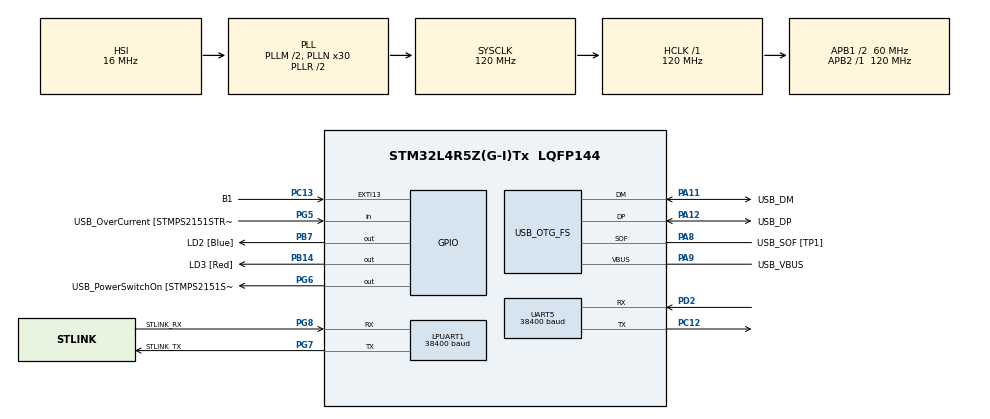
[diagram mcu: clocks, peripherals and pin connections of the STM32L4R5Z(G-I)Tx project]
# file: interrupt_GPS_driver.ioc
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Dma.Request0=UART5_RX
Dma.UART5_RX.0.Direction=DMA_PERIPH_TO_MEMORY
Dma.UART5_RX.0.EventEnable=DISABLE
Dma.UART5_RX.0.Instance=DMA1_Channel1
Dma.UART5_RX.0.MemDataAlignment=DMA_MDATAALIGN_BYTE
Dma.UART5_RX.0.MemInc=DMA_MINC_ENABLE
Dma.UART5_RX.0.Mode=DMA_CIRCULAR
Dma.UART5_RX.0.PeriphDataAlignment=DMA_PDATAALIGN_BYTE
Dma.UART5_RX.0.PeriphInc=DMA_PINC_DISABLE
Dma.UART5_RX.0.Polarity=HAL_DMAMUX_REQUEST_GEN_RISING
Dma.UART5_RX.0.Priority=DMA_PRIORITY_LOW
Dma.UART5_RX.0.RequestNumber=1
Dma.UART5_RX.0.SignalID=NONE
Dma.UART5_RX.0.SyncEnable=DISABLE
Dma.UART5_RX.0.SyncPolarity=HAL_DMAMUX_SYNC_NO_EVENT
Dma.UART5_RX.0.SyncRequestNumber=1
Dma.UART5_RX.0.SyncSignalID=NONE
LPUART1.BaudRate=38400
LPUART1.WordLength=UART_WORDLENGTH_8B
Mcu.Family=STM32L4
Mcu.Name=STM32L4R5Z(G-I)Tx
Mcu.Package=LQFP144
NVIC.DMA1_Channel1_IRQn=true\:0\:0\:false\:false\:true\:false\:true\:true
NVIC.PriorityGroup=NVIC_PRIORITYGROUP_4
NVIC.UART5_IRQn=true\:0\:0\:false\:false\:true\:true\:true\:true
PA10.GPIO_Label=USB_ID
PA10.Signal=USB_OTG_FS_ID
PA11.GPIO_Label=USB_DM
PA11.Mode=Device_Only
PA11.Signal=USB_OTG_FS_DM
PA12.GPIO_Label=USB_DP
PA12.Mode=Device_Only
PA12.Signal=USB_OTG_FS_DP
PA13\ (JTMS/SWDIO).GPIO_Label=TMS
PA13\ (JTMS/SWDIO).Mode=Trace_Asynchronous_SW
PA13\ (JTMS/SWDIO).Signal=SYS_JTMS-SWDIO
PA14\ (JTCK/SWCLK).GPIO_Label=TCK
PA14\ (JTCK/SWCLK).Mode=Trace_Asynchronous_SW
PA14\ (JTCK/SWCLK).Signal=SYS_JTCK-SWCLK
PA8.GPIO_Label=USB_SOF [TP1]
PA8.Mode=Activate_SOF_FS
PA8.Signal=USB_OTG_FS_SOF
PA9.GPIO_Label=USB_VBUS
PA9.Mode=Activate_VBUS
PA9.Signal=USB_OTG_FS_VBUS
PB14.GPIO_Label=LD3 [Red]
PB14.Signal=GPIO_Output
PB3\ (JTDO/TRACESWO).GPIO_Label=SWO
PB3\ (JTDO/TRACESWO).Mode=Trace_Asynchronous_SW
PB3\ (JTDO/TRACESWO).Signal=SYS_JTDO-SWO
PB7.GPIO_Label=LD2 [Blue]
PB7.Signal=GPIO_Output
PC12.Mode=Asynchronous
PC12.Signal=UART5_TX
PC13.GPIO_Label=B1
PC13.Signal=GPXTI13
PC14-OSC32_IN\ (PC14).Mode=LSE-External-Oscillator
PC14-OSC32_IN\ (PC14).Signal=RCC_OSC32_IN
PC15-OSC32_OUT\ (PC15).Mode=LSE-External-Oscillator
PC15-OSC32_OUT\ (PC15).Signal=RCC_OSC32_OUT
PD2.Mode=Asynchronous
PD2.Signal=UART5_RX
PD8.GPIO_Label=STLK_RX [STM32F103CBT6_PA3]
PD8.Signal=USART3_TX
PD9.GPIO_Label=STLK_TX [STM32F103CBT6_PA2]
PD9.Signal=USART3_RX
PG5.GPIO_Label=USB_OverCurrent [STMPS2151STR_FAULT]
PG5.Signal=GPIO_Input
PG6.GPIO_Label=USB_PowerSwitchOn [STMPS2151STR_EN]
PG6.Signal=GPIO_Output
PG7.GPIO_Label=STLINK_TX
PG7.Mode=Asynchronous
PG7.Signal=LPUART1_TX
PG8.GPIO_Label=STLINK_RX
PG8.Mode=Asynchronous
PG8.Signal=LPUART1_RX
PH0-OSC_IN\ (PH0).Signal=RCC_OSC_IN
PH1-OSC_OUT\ (PH1).Signal=RCC_OSC_OUT
ProjectManager.HeapSize=0x200
ProjectManager.StackSize=0x400
ProjectManager.TargetToolchain=STM32CubeIDE
RCC.48MHZClocksFreq_Value=24000000
RCC.ADCFreq_Value=96000000
RCC.AHBFreq_Value=120000000
RCC.APB1CLKDivider=RCC_HCLK_DIV2
RCC.APB1Freq_Value=60000000
RCC.APB1TimFreq_Value=120000000
RCC.APB2Freq_Value=120000000
RCC.APB2TimFreq_Value=120000000
RCC.CK48CLockSelection=RCC_USBCLKSOURCE_HSI48
RCC.CortexFreq_Value=120000000
RCC.HCLKFreq_Value=120000000
RCC.HSE_VALUE=8000000
RCC.HSI48_VALUE=48000000
RCC.HSI_VALUE=16000000
RCC.MSI_VALUE=4000000
RCC.PLLM1=2
RCC.PLLMUL=RCC_PLL_MUL9
RCC.PLLN=30
RCC.PLLSAI1N=12
RCC.PLLSourceVirtual=RCC_PLLSOURCE_HSI
RCC.PRESCALERUSB=RCC_USBCLKSOURCE_PLL_DIV1_5
RCC.SYSCLKFreq_VALUE=120000000
RCC.SYSCLKSource=RCC_SYSCLKSOURCE_PLLCLK
RCC.SYSCLKSourceVirtual=RCC_SYSCLKSOURCE_PLLCLK
RCC.USBFreq_Value=48000000
RCC.VCOOutputFreq_Value=240000000
UART5.BaudRate=38400
USB_OTG_FS.VirtualMode=Device_Only
board=NUCLEO-L4R5ZI

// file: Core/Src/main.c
/* USER CODE BEGIN Header */
/**
 ******************************************************************************
 * @file           : main.c
 * @brief          : Main program body
 ******************************************************************************
 * @attention
 *
 * Copyright (c) 2026 STMicroelectronics.
 * All rights reserved.
 *
 * This software is licensed under terms that can be found in the LICENSE file
 * in the root directory of this software component.
 * If no LICENSE file comes with this software, it is provided AS-IS.
 *
 ******************************************************************************
 Notes:
 - can delete all the console_print() calls, only there to help debugging
 - can stop LED2 from toggling by deleting the code from uart callback

 */
/* USER CODE END Header */
#include "main.h"

/* USER CODE BEGIN Includes */
#include <stdio.h>
#include <string.h>

#include "constants.h"
#include "gps_config.h"
#include "gps_interface.h"
#include "ring_buffer.h"

/* USER CODE END Includes */

UART_HandleTypeDef hlpuart1;
UART_HandleTypeDef huart5;
DMA_HandleTypeDef hdma_uart5_rx;

PCD_HandleTypeDef hpcd_USB_OTG_FS;

/* USER CODE BEGIN PV */

/* GPS data buffers.
 * Sizes are defined in constants.h.
 * DMA_LEN = 128 bytes:  holds one full GGA sentence with margin.
 * GPS_RB_LEN = 256 bytes:  holds about 3 sentences of backlog so the
 *              parser has time to drain the buffer between fixes. */
static RingBuffer gps_rb;
static uint8_t gps_rb_storage[GPS_RB_LEN];
static uint8_t gps_dma_buf[DMA_LEN];

/* Debug counters -- track DMA callback activity.
 * These are volatile because they are written inside an interrupt (the DMA
 * callback) and read in the main loop. Remove once testing is done. */
volatile uint32_t gps_rx_events = 0;     // total number of DMA callbacks fired
volatile uint32_t gps_rx_bytes = 0;      // bytes received in the most recent callback
volatile uint32_t max_gps_rx_bytes = 0;  // track bytes recieved per callback (should be around ~75 with only GGA enabled)

volatile size_t time_delta = 0;        // time between callbacks
volatile uint32_t max_time_delta = 0;  // track time between callback (should be around ~200ms at 5Hz)

volatile uint32_t gps_rx_event_type = 0;
volatile uint32_t gps_idle_events = 0;  // callbacks triggered by UART idle line
volatile uint32_t gps_ht_events = 0;    // callbacks triggered by DMA half-transfer
volatile uint32_t gps_tc_events = 0;    // callbacks triggered by DMA transfer-complete

/* USER CODE END PV */

void SystemClock_Config(void);
static void MX_GPIO_Init(void);
static void MX_DMA_Init(void);
static void MX_LPUART1_UART_Init(void);
static void MX_USB_OTG_FS_PCD_Init(void);
static void MX_UART5_Init(void);
/* USER CODE BEGIN PFP */
static void print_gps_fix(void);
static void print_gps_stats(void);
/* USER CODE END PFP */

/* USER CODE BEGIN 0 */

/* -----------------------
 * debug_uart_callback
 * called from HAL_UARTEx_RxEventCallback every time the DMA fires
 * (idle line, half-transfer, or transfer-complete).
 * Tracks event counts and byte counts for debugging.
 *
 * This entire function can be removed once the driver is confirmed
 * working.
 * ----------------------- */
void debug_uart_callback(UART_HandleTypeDef* huart, uint16_t Size) {
    static uint16_t old_pos = 0;
    uint16_t new_bytes = 0;
    static uint32_t last_callback_time = 0;

    /* figure out which type of event triggered this callback */
    HAL_UART_RxEventTypeTypeDef evt = HAL_UARTEx_GetRxEventType(huart);
    if (evt == HAL_UART_RXEVENT_IDLE)
        gps_idle_events++;
    else if (evt == HAL_UART_RXEVENT_HT)
        gps_ht_events++;
    else if (evt == HAL_UART_RXEVENT_TC)
        gps_tc_events++;

    /* compute bytes received since last callback, accounting for DMA wrap */
    if (Size >= old_pos) {
        new_bytes = Size - old_pos;
    } else {
        new_bytes = DMA_LEN - old_pos + Size;
    }

    gps_rx_bytes = new_bytes;
    gps_rx_events++;

    /* Timing and Maximums */
    uint32_t current_time = HAL_GetTick();
    time_delta = current_time - last_callback_time;
    last_callback_time = current_time;

    if (gps_rx_bytes > max_gps_rx_bytes)
        max_gps_rx_bytes = gps_rx_bytes;
    if (time_delta > max_time_delta && gps_rx_events > 1)
        max_time_delta = time_delta;

    // Update position for next interrupt
    old_pos = Size;
    if (old_pos >= DMA_LEN)
        old_pos = 0;

    /* toggle LED2 on every callback so we can see DMA is alive */
    HAL_GPIO_TogglePin(LD2_GPIO_Port, LD2_Pin);
}

/* -----------------------
 * HAL_UARTEx_RxEventCallback -- this is the HAL weak function we override.
 * It fires on every DMA event (idle, half-transfer, transfer-complete).
 *
 * gps_on_rx_event() is the only call that actually matters for the driver.
 * The debug callback above can be removed once testing is done.
 * ----------------------- */
void HAL_UARTEx_RxEventCallback(UART_HandleTypeDef* huart, uint16_t Size) {
    if (huart == &huart5) {
        debug_uart_callback(huart, Size);  // stuff for debugging, delete once not needed
        gps_on_rx_event(Size);             // only thing needed for callback to work
    }
}
/* USER CODE END 0 */

int main(void) {

    /* MCU Configuration--------------------------------------------------------*/

    /* Reset of all peripherals, Initializes the Flash interface and the Systick. */
    HAL_Init();

    /* Configure the system clock */
    SystemClock_Config();

    /* Initialize all configured peripherals */
    MX_GPIO_Init();
    MX_DMA_Init();
    MX_LPUART1_UART_Init();
    MX_USB_OTG_FS_PCD_Init();
    MX_UART5_Init();
    /* USER CODE BEGIN 2 */
    console_print("--- GPS driver starting ---\r\n");

    /* Step 1: initialize internal driver state.
     * Sets up the ring buffer, parser, and UART handler structs.
     * Does NOT start DMA yet. */
    gps_init(&huart5, &gps_rb, gps_rb_storage, gps_dma_buf);

    /* Step 2: configure the GPS module over UBX.
     *
     * Can make permenant or temporary changes by changing UBX_LAYERS in constants.h
     *
     * first boot: change gps baud to whatever needed:
     * 		- modify values in constants.h
     * 		- set reinit_baud == true
     *
     * Cannot change fix rate at the same time as baud rate
     *
     * Changing nmea outputs and fix rate:
     * 		- modify fix rate in constants.h
     * 		- set reinit_baud == false, reinit_nmea_rate == true
     *
     * No changes:
     * 		- set reinit_baud == false, reinit_nmea_rate == false
     *
     * Current setup:
     *      - GPS already has 115200 saved from a previous run
     *      - NMEA/rate config has already been applied and saved.
     *      - Both flags are false so no UBX commands are sent on this boot
     * */
    GPS_CfgStatus cfg = gps_configure(&huart5, /*reinit_baud*/ false, /*reinit_nmea_rate*/
                                      false);
    if (cfg != GPS_CFG_OK) {
        console_print("GPS config failed\r\n");
        Error_Handler();
    }

    /* Step 3: start DMA receive.
     * This must happen AFTER gps_configure() since gps_configure() uses
     * blocking HAL_UART_Transmit/Receive which conflicts with active DMA. */
    if (!gps_start()) {
        console_print("gps uart start error \r\n");
        Error_Handler();
    }
    console_print("gps uart started! \r\n");

    /* USER CODE END 2 */

    /* Infinite loop */
    /* USER CODE BEGIN WHILE */

    uint32_t last_print = 0;
    char buf[128];  // for the sake of debugging

    while (1) {
        /* gps_process() drains the ring buffer and feeds bytes into the
         * NMEA parser. Call this as often as possible so sentences are
         * assembled and the fix struct stays current. */
        gps_process();

        /* print a status update once per second for debugging */
        if ((HAL_GetTick() - last_print) >= 1000) {
            last_print = HAL_GetTick();

            /* raw DMA event counters -- confirms the callback is firing */
            snprintf(buf, sizeof(buf),
                     "rx_events:%lu  bytes_last:%lu  idle:%lu  ht:%lu  tc:%lu\r\n",
                     gps_rx_events, gps_rx_bytes, gps_idle_events, gps_ht_events,
                     gps_tc_events);
            console_print(buf);

            /* latest GPS fix data */
            print_gps_fix();

            /* parser stats -- useful for confirming gps_configure() worked.
             * After a successful config you should see:
             *   seen == gga  (every sentence is GGA, none ignored)
             *   ign  == 0    (no stray RMC/GSV getting through)
             *   fail == 0    (no checksum errors) */
            print_gps_stats();

            // print new lines for some seperation and clarity in the console
            console_print("\r\n");
            console_print("\r\n");
        }
    }
    /* USER CODE END WHILE */

}

void SystemClock_Config(void) {
    RCC_OscInitTypeDef RCC_OscInitStruct = {0};
    RCC_ClkInitTypeDef RCC_ClkInitStruct = {0};

    /** Configure the main internal regulator output voltage
     */
    if (HAL_PWREx_ControlVoltageScaling(PWR_REGULATOR_VOLTAGE_SCALE1_BOOST) != HAL_OK) {
        Error_Handler();
    }

    /** Initializes the RCC Oscillators according to the specified parameters
     * in the RCC_OscInitTypeDef structure.
     */
    RCC_OscInitStruct.OscillatorType = RCC_OSCILLATORTYPE_HSI48 | RCC_OSCILLATORTYPE_HSI;
    RCC_OscInitStruct.HSIState = RCC_HSI_ON;
    RCC_OscInitStruct.HSI48State = RCC_HSI48_ON;
    RCC_OscInitStruct.HSICalibrationValue = RCC_HSICALIBRATION_DEFAULT;
    RCC_OscInitStruct.PLL.PLLState = RCC_PLL_ON;
    RCC_OscInitStruct.PLL.PLLSource = RCC_PLLSOURCE_HSI;
    RCC_OscInitStruct.PLL.PLLM = 2;
    RCC_OscInitStruct.PLL.PLLN = 30;
    RCC_OscInitStruct.PLL.PLLP = RCC_PLLP_DIV2;
    RCC_OscInitStruct.PLL.PLLQ = RCC_PLLQ_DIV2;
    RCC_OscInitStruct.PLL.PLLR = RCC_PLLR_DIV2;
    if (HAL_RCC_OscConfig(&RCC_OscInitStruct) != HAL_OK) {
        Error_Handler();
    }

    /** Initializes the CPU, AHB and APB buses clocks
     */
    RCC_ClkInitStruct.ClockType = RCC_CLOCKTYPE_HCLK | RCC_CLOCKTYPE_SYSCLK | RCC_CLOCKTYPE_PCLK1 | RCC_CLOCKTYPE_PCLK2;
    RCC_ClkInitStruct.SYSCLKSource = RCC_SYSCLKSOURCE_PLLCLK;
    RCC_ClkInitStruct.AHBCLKDivider = RCC_SYSCLK_DIV1;
    RCC_ClkInitStruct.APB1CLKDivider = RCC_HCLK_DIV2;
    RCC_ClkInitStruct.APB2CLKDivider = RCC_HCLK_DIV1;

    if (HAL_RCC_ClockConfig(&RCC_ClkInitStruct, FLASH_LATENCY_5) != HAL_OK) {
        Error_Handler();
    }
}

static void MX_LPUART1_UART_Init(void) {

    hlpuart1.Instance = LPUART1;
    hlpuart1.Init.BaudRate = 38400;
    hlpuart1.Init.WordLength = UART_WORDLENGTH_8B;
    hlpuart1.Init.StopBits = UART_STOPBITS_1;
    hlpuart1.Init.Parity = UART_PARITY_NONE;
    hlpuart1.Init.Mode = UART_MODE_TX_RX;
    hlpuart1.Init.HwFlowCtl = UART_HWCONTROL_NONE;
    hlpuart1.Init.OneBitSampling = UART_ONE_BIT_SAMPLE_DISABLE;
    hlpuart1.Init.ClockPrescaler = UART_PRESCALER_DIV1;
    hlpuart1.AdvancedInit.AdvFeatureInit = UART_ADVFEATURE_NO_INIT;
    hlpuart1.FifoMode = UART_FIFOMODE_DISABLE;
    if (HAL_UART_Init(&hlpuart1) != HAL_OK) {
        Error_Handler();
    }
    if (HAL_UARTEx_SetTxFifoThreshold(&hlpuart1, UART_TXFIFO_THRESHOLD_1_8) != HAL_OK) {
        Error_Handler();
    }
    if (HAL_UARTEx_SetRxFifoThreshold(&hlpuart1, UART_RXFIFO_THRESHOLD_1_8) != HAL_OK) {
        Error_Handler();
    }
    if (HAL_UARTEx_DisableFifoMode(&hlpuart1) != HAL_OK) {
        Error_Handler();
    }
}

static void MX_UART5_Init(void) {

    huart5.Instance = UART5;
    huart5.Init.BaudRate = 115200;
    huart5.Init.WordLength = UART_WORDLENGTH_8B;
    huart5.Init.StopBits = UART_STOPBITS_1;
    huart5.Init.Parity = UART_PARITY_NONE;
    huart5.Init.Mode = UART_MODE_TX_RX;
    huart5.Init.HwFlowCtl = UART_HWCONTROL_NONE;
    huart5.Init.OverSampling = UART_OVERSAMPLING_16;
    huart5.Init.OneBitSampling = UART_ONE_BIT_SAMPLE_DISABLE;
    huart5.Init.ClockPrescaler = UART_PRESCALER_DIV1;
    huart5.AdvancedInit.AdvFeatureInit = UART_ADVFEATURE_NO_INIT;
    if (HAL_UART_Init(&huart5) != HAL_OK) {
        Error_Handler();
    }
    if (HAL_UARTEx_SetTxFifoThreshold(&huart5, UART_TXFIFO_THRESHOLD_1_8) != HAL_OK) {
        Error_Handler();
    }
    if (HAL_UARTEx_SetRxFifoThreshold(&huart5, UART_RXFIFO_THRESHOLD_1_8) != HAL_OK) {
        Error_Handler();
    }
    if (HAL_UARTEx_DisableFifoMode(&huart5) != HAL_OK) {
        Error_Handler();
    }
}

static void MX_USB_OTG_FS_PCD_Init(void) {

    hpcd_USB_OTG_FS.Instance = USB_OTG_FS;
    hpcd_USB_OTG_FS.Init.dev_endpoints = 6;
    hpcd_USB_OTG_FS.Init.speed = PCD_SPEED_FULL;
    hpcd_USB_OTG_FS.Init.phy_itface = PCD_PHY_EMBEDDED;
    hpcd_USB_OTG_FS.Init.Sof_enable = ENABLE;
    hpcd_USB_OTG_FS.Init.low_power_enable = DISABLE;
    hpcd_USB_OTG_FS.Init.lpm_enable = DISABLE;
    hpcd_USB_OTG_FS.Init.battery_charging_enable = ENABLE;
    hpcd_USB_OTG_FS.Init.use_dedicated_ep1 = DISABLE;
    hpcd_USB_OTG_FS.Init.vbus_sensing_enable = ENABLE;
    if (HAL_PCD_Init(&hpcd_USB_OTG_FS) != HAL_OK) {
        Error_Handler();
    }
}

static void MX_DMA_Init(void) {
    /* DMA controller clock enable */
    __HAL_RCC_DMAMUX1_CLK_ENABLE();
    __HAL_RCC_DMA1_CLK_ENABLE();

    /* DMA interrupt init */
    /* DMA1_Channel1_IRQn interrupt configuration */
    HAL_NVIC_SetPriority(DMA1_Channel1_IRQn, 0, 0);
    HAL_NVIC_EnableIRQ(DMA1_Channel1_IRQn);
}

static void MX_GPIO_Init(void) {
    GPIO_InitTypeDef GPIO_InitStruct = {0};

    /* GPIO Ports Clock Enable */
    __HAL_RCC_GPIOC_CLK_ENABLE();
    __HAL_RCC_GPIOH_CLK_ENABLE();
    __HAL_RCC_GPIOB_CLK_ENABLE();
    __HAL_RCC_GPIOD_CLK_ENABLE();
    __HAL_RCC_GPIOG_CLK_ENABLE();
    HAL_PWREx_EnableVddIO2();
    __HAL_RCC_GPIOA_CLK_ENABLE();

    /*Configure GPIO pin Output Level */
    HAL_GPIO_WritePin(GPIOB, LD3_Pin | LD2_Pin, GPIO_PIN_RESET);

    /*Configure GPIO pin Output Level */
    HAL_GPIO_WritePin(USB_PowerSwitchOn_GPIO_Port, USB_PowerSwitchOn_Pin,
                      GPIO_PIN_RESET);

    /*Configure GPIO pin : B1_Pin */
    GPIO_InitStruct.Pin = B1_Pin;
    GPIO_InitStruct.Mode = GPIO_MODE_IT_RISING;
    GPIO_InitStruct.Pull = GPIO_NOPULL;
    HAL_GPIO_Init(B1_GPIO_Port, &GPIO_InitStruct);

    /*Configure GPIO pins : LD3_Pin LD2_Pin */
    GPIO_InitStruct.Pin = LD3_Pin | LD2_Pin;
    GPIO_InitStruct.Mode = GPIO_MODE_OUTPUT_PP;
    GPIO_InitStruct.Pull = GPIO_NOPULL;
    GPIO_InitStruct.Speed = GPIO_SPEED_FREQ_LOW;
    HAL_GPIO_Init(GPIOB, &GPIO_InitStruct);

    /*Configure GPIO pins : STLK_RX_Pin STLK_TX_Pin */
    GPIO_InitStruct.Pin = STLK_RX_Pin | STLK_TX_Pin;
    GPIO_InitStruct.Mode = GPIO_MODE_AF_PP;
    GPIO_InitStruct.Pull = GPIO_NOPULL;
    GPIO_InitStruct.Speed = GPIO_SPEED_FREQ_VERY_HIGH;
    GPIO_InitStruct.Alternate = GPIO_AF7_USART3;
    HAL_GPIO_Init(GPIOD, &GPIO_InitStruct);

    /*Configure GPIO pin : USB_OverCurrent_Pin */
    GPIO_InitStruct.Pin = USB_OverCurrent_Pin;
    GPIO_InitStruct.Mode = GPIO_MODE_INPUT;
    GPIO_InitStruct.Pull = GPIO_NOPULL;
    HAL_GPIO_Init(USB_OverCurrent_GPIO_Port, &GPIO_InitStruct);

    /*Configure GPIO pin : USB_PowerSwitchOn_Pin */
    GPIO_InitStruct.Pin = USB_PowerSwitchOn_Pin;
    GPIO_InitStruct.Mode = GPIO_MODE_OUTPUT_PP;
    GPIO_InitStruct.Pull = GPIO_NOPULL;
    GPIO_InitStruct.Speed = GPIO_SPEED_FREQ_LOW;
    HAL_GPIO_Init(USB_PowerSwitchOn_GPIO_Port, &GPIO_InitStruct);

}

/* USER CODE BEGIN 4 */
/* console_print -- blocking transmit to LPUART1 (ST-Link virtual COM port).
 * Used only for debugging. */
void console_print(const char* s) {
    if (!s)
        return;
    HAL_UART_Transmit(&hlpuart1, (uint8_t*)s, strlen(s), 2000);
}

/* print_gps_fix -- reads the latest fix from the driver and prints it.
 * "Elapsed time" tells you how many ms ago the last valid fix arrived,
 * which helps confirm the fix rate is working as expected. */
static void print_gps_fix(void) {
    GpsFix fix;
    char msg[128];

    if (!get_fix(&fix)) {
        console_print("GPS: no valid fix \r\n");
        return;
    }

    uint32_t age_ms = HAL_GetTick() - (uint32_t)fix.last_update_ms;

    snprintf(msg, sizeof(msg),
             "GPS fix: lat = %.6f | lon = %.6f | sats = %u | alt = %.1fm | age = %lums\r\n",
             fix.lat, fix.lon, fix.satellites_used, fix.alt, age_ms);
    console_print(msg);
}

/* print_gps_stats -- prints parser and drop counters.
 * Useful during initial testing to verify the GPS config is working and
 * no data is being lost. Safe to call in the main loop. */
static void print_gps_stats(void) {
    GpsStats stats;
    char msg[128];

    get_stats(&stats);
    size_t dropped = get_dropped_bytes();  // reads and clears the drop counter

    snprintf(msg, sizeof(msg),
             "stats: seen = %u  gga = %u  ign = %u  checksum_fail = %u  dropped = %u\r\n",
             (unsigned)stats.sentences_seen, (unsigned)stats.parsed_gga_count,
             (unsigned)stats.ignored_sentences,
             (unsigned)stats.checksum_failure, (unsigned)dropped);
    console_print(msg);
}

/* USER CODE END 4 */

void Error_Handler(void) {
    /* USER CODE BEGIN Error_Handler_Debug */
    /* User can add his own implementation to report the HAL error return state */
    __disable_irq();
    while (1) {  // blink an led if in this function
        HAL_GPIO_TogglePin(LD3_GPIO_Port, LD3_Pin);

        for (volatile uint32_t i = 0; i < 1000000; i++) {
            __NOP();  // No Operation (do nothing)
        }
    }
    /* USER CODE END Error_Handler_Debug */
}
